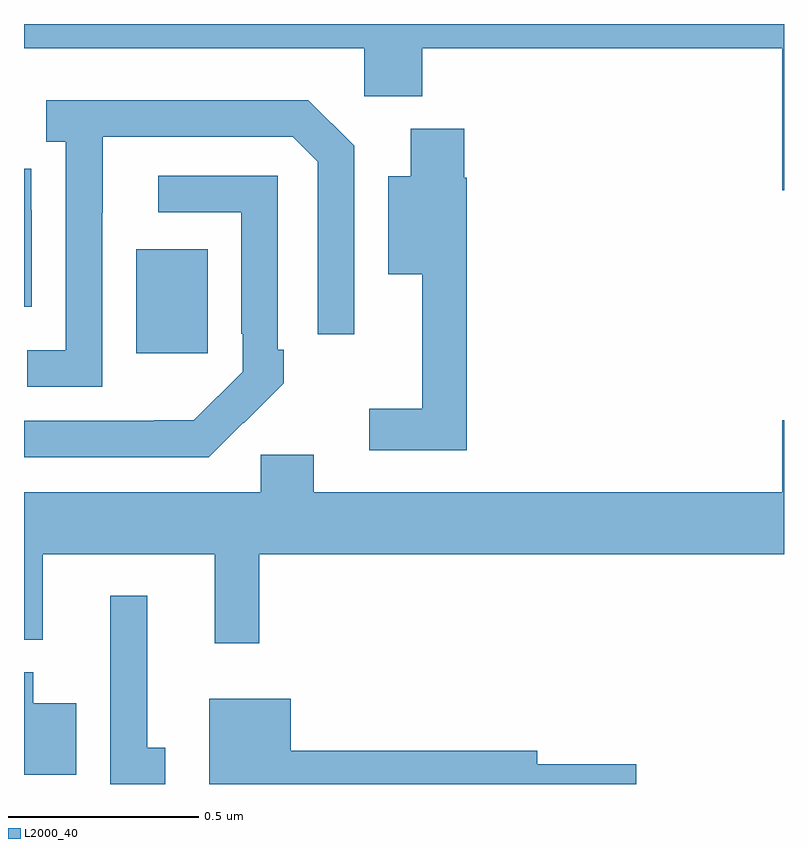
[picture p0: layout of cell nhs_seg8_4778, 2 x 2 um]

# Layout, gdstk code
import gdstk
lib = gdstk.Library(unit=1e-6, precision=1e-09)
def R(c, l, rs):  # rectangles x0, y0, x1, y1
    for r in rs: c.add(gdstk.rectangle(r[:2], r[2:], *l))
def P(c, l, *ps):  # polygons
    for p in ps: c.add(gdstk.Polygon(p, *l))
L2000_40 = (2000, 40)

nhs_seg8_4778 = lib.new_cell('nhs_seg8_4778')
R(nhs_seg8_4778, L2000_40, [(175.295,1113.033,175.483,1113.307)])
P(nhs_seg8_4778, L2000_40, [(177,1113.9),(175,1113.9),(175,1113.836),(175.896,1113.836),(175.896,1113.71),(176.048,1113.71),(176.048,1113.836),(176.996,1113.836),(176.996,1113.462),(177,1113.462)],
  [(175.206,1113.403),(175.207,1113.403),(175.207,1113.603),(175.707,1113.603),(175.773,1113.537),(175.773,1113.084),(175.869,1113.084),(175.869,1113.579),(175.748,1113.7),(175.059,1113.7),(175.059,1113.59),(175.11,1113.59),(175.11,1113.042),(175.008,1113.042),(175.008,1112.946),(175.206,1112.946)],
  [(176.165,1113.495),(176.159,1113.495),(176.159,1113.625),(176.018,1113.625),(176.018,1113.499),(175.958,1113.499),(175.958,1113.242),(176.048,1113.242),(176.048,1112.887),(175.908,1112.887),(175.908,1112.778),(176.165,1112.778)],
  [(175.02,1113.41),(175.019,1113.41),(175.019,1113.519),(175,1113.519),(175,1113.156),(175.02,1113.156)],
  [(175.577,1112.851),(175.578,1112.85),(175.683,1112.955),(175.683,1113.043),(175.668,1113.043),(175.668,1113.501),(175.353,1113.501),(175.353,1113.405),(175.572,1113.405),(175.572,1113.085),(175.575,1113.085),(175.575,1112.985),(175.447,1112.857),(175.343,1112.857),(175.343,1112.856),(175,1112.856),(175,1112.76),(175.486,1112.76)],
  [(175.619,1112.504),(177,1112.504),(177,1112.857),(176.996,1112.857),(176.996,1112.668),(175.762,1112.668),(175.762,1112.766),(175.623,1112.766),(175.623,1112.668),(175,1112.668),(175,1112.279),(175.049,1112.279),(175.049,1112.504),(175.502,1112.504),(175.502,1112.271),(175.619,1112.271)],
  [(175.372,1111.996),(175.324,1111.996),(175.324,1112.395),(175.227,1112.395),(175.227,1111.9),(175.372,1111.9)],
  [(175.138,1112.113),(175.024,1112.113),(175.024,1112.194),(175,1112.194),(175,1111.925),(175.138,1111.925)],
  [(176.611,1111.952),(176.35,1111.952),(176.35,1111.988),(175.702,1111.988),(175.702,1112.125),(175.487,1112.125),(175.487,1111.9),(176.611,1111.9)])

lib.write_gds('nhs_seg8_4778.gds')
